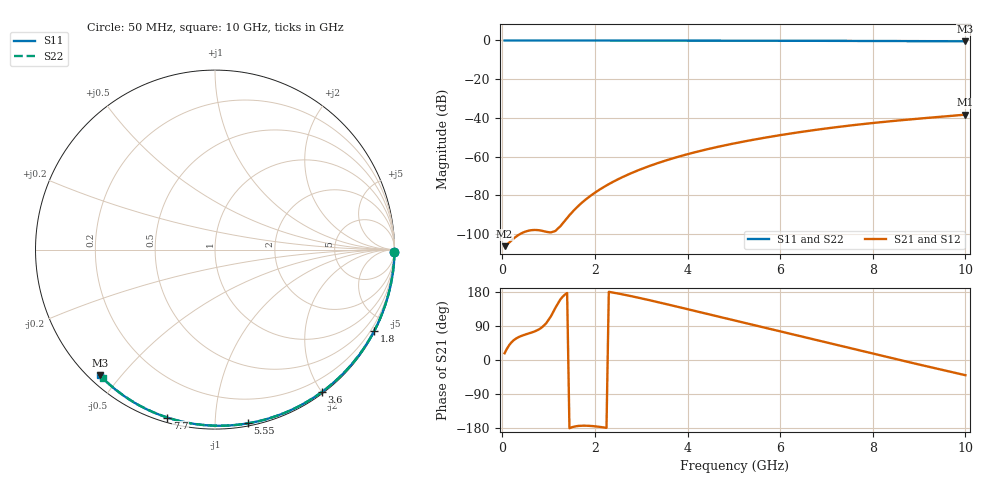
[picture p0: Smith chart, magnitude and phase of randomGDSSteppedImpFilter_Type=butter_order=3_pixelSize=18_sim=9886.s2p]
! freq	dB(S11)	phase(S11)	dB(S12)	phase(S12)
!  dB(S21)	phase(S21)	dB(S22)	phase(S22)
!S-par simulation data
#  GHz  S  DB  R 50
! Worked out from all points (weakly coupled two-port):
!   200 points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, 50 MHz to 10 GHz, reference 50 ohm
!   highest |S21| = -38.36 dB at 10 GHz (marker M1); lowest = -106.4 dB at 50 MHz (marker M2)
!   lowest |S11| = -0.4 dB at 10 GHz (marker M3), VSWR 38.85, Z = 1.54 - j22 ohm
!   |S11| at or under -10 dB: nowhere
!   |S22| runs from -0.4 to 0.0 dB; largest |S21 - S12| = 0
!   S11 on the Smith chart (normalised r, x): 50 MHz: open; 1.8 GHz: 0.04, -4.14; 3.6 GHz: 0.02, -2.00; 5.55 GHz: 0.02, -1.21; 7.7 GHz: 0.02, -0.75; 10 GHz: 0.03, -0.44
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0.05  0.00 -0.8  -106.36 17.9  -106.36 17.9  -0.00 -0.8
0.85  -0.01 -13.0  -98.37 85.7  -98.37 85.7  -0.02 -12.8
1.3  -0.02 -19.7  -94.72 166.6  -94.72 166.6  -0.02 -19.5
1.75  -0.03 -26.4  -83.24 -173.3  -83.24 -173.3  -0.03 -26.2
1.8  -0.03 -27.2  -82.25 -173.3  -82.25 -173.3  -0.03 -26.9
1.9  -0.04 -28.6  -80.40 -173.9  -80.40 -173.9  -0.04 -28.4
1.95  -0.04 -29.4  -79.53 -174.4  -79.53 -174.4  -0.04 -29.1
2.25  -0.04 -33.8  -74.95 -179.1  -74.95 -179.1  -0.04 -33.5
2.55  -0.05 -38.1  -71.17 174.3  -71.17 174.3  -0.05 -37.8
2.95  -0.06 -43.9  -66.97 164.1  -66.97 164.1  -0.06 -43.5
3.4  -0.07 -50.3  -63.07 151.6  -63.07 151.6  -0.07 -49.8
3.6  -0.07 -53.1  -61.54 145.8  -61.54 145.8  -0.07 -52.6
3.9  -0.08 -57.3  -59.45 137.1  -59.45 137.1  -0.08 -56.7
4.3  -0.09 -62.7  -56.97 125.4  -56.97 125.4  -0.09 -62.2
5.05  -0.11 -72.8  -53.02 103.4  -53.02 103.4  -0.11 -72.1
5.55  -0.13 -79.3  -50.78 88.8  -50.78 88.8  -0.13 -78.6
6.1  -0.15 -86.3  -48.57 72.7  -48.57 72.7  -0.15 -85.5
6.7  -0.18 -93.8  -46.45 55.1  -46.45 55.1  -0.18 -92.9
7.7  -0.24 -105.9  -43.45 25.7  -43.45 25.7  -0.24 -104.9
8.35  -0.29 -113.5  -41.84 6.7  -41.84 6.7  -0.29 -112.5
9.15  -0.36 -122.8  -40.10 -16.2  -40.10 -16.2  -0.36 -121.7
10  -0.45 -132.5  -38.36 -40.1  -38.36 -40.1  -0.44 -131.2
